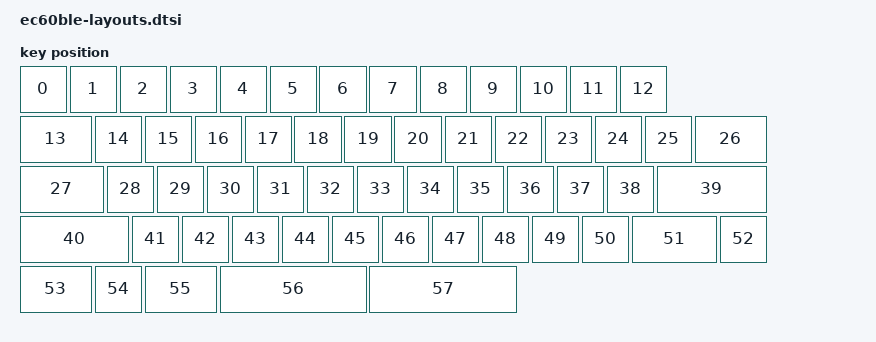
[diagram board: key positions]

#include <physical_layouts.dtsi>

/* write a layout with all the keys */
/* then define layouts with less keys and reference the full key layout */
/* If keyboard has multiple layouts, define multiple matrix transformations and multiple physical layouts, one for each layout */
/ {

    layout_0: layout_0 {
        compatible = "zmk,physical-layout";
        display-name = "Layout 0";

        keys  //                     w   h    x    y     rot    rx    ry
            = <&key_physical_attrs 100 100  250    0       0     0     0>
            , <&key_physical_attrs 100 100  350    0       0     0     0>
            , <&key_physical_attrs 100 100  450    0       0     0     0>
            , <&key_physical_attrs 100 100  550    0       0     0     0>
            , <&key_physical_attrs 100 100  650    0       0     0     0>
            , <&key_physical_attrs 100 100  750    0       0     0     0>
            , <&key_physical_attrs 100 100  850    0       0     0     0>
            , <&key_physical_attrs 100 100  950    0       0     0     0>
            , <&key_physical_attrs 100 100 1050    0       0     0     0>
            , <&key_physical_attrs 100 100 1150    0       0     0     0>
            , <&key_physical_attrs 100 100 1250    0       0     0     0>
            , <&key_physical_attrs 100 100 1350    0       0     0     0>
            , <&key_physical_attrs 100 100 1450    0       0     0     0>
            , <&key_physical_attrs 150 100  250  100       0     0     0>
            , <&key_physical_attrs 100 100  400  100       0     0     0>
            , <&key_physical_attrs 100 100  500  100       0     0     0>
            , <&key_physical_attrs 100 100  600  100       0     0     0>
            , <&key_physical_attrs 100 100  700  100       0     0     0>
            , <&key_physical_attrs 100 100  800  100       0     0     0>
            , <&key_physical_attrs 100 100  900  100       0     0     0>
            , <&key_physical_attrs 100 100 1000  100       0     0     0>
            , <&key_physical_attrs 100 100 1100  100       0     0     0>
            , <&key_physical_attrs 100 100 1200  100       0     0     0>
            , <&key_physical_attrs 100 100 1300  100       0     0     0>
            , <&key_physical_attrs 100 100 1400  100       0     0     0>
            , <&key_physical_attrs 100 100 1500  100       0     0     0>
            , <&key_physical_attrs 150 100 1600  100       0     0     0>
            , <&key_physical_attrs 175 100  250  200       0     0     0>
            , <&key_physical_attrs 100 100  425  200       0     0     0>
            , <&key_physical_attrs 100 100  525  200       0     0     0>
            , <&key_physical_attrs 100 100  625  200       0     0     0>
            , <&key_physical_attrs 100 100  725  200       0     0     0>
            , <&key_physical_attrs 100 100  825  200       0     0     0>
            , <&key_physical_attrs 100 100  925  200       0     0     0>
            , <&key_physical_attrs 100 100 1025  200       0     0     0>
            , <&key_physical_attrs 100 100 1125  200       0     0     0>
            , <&key_physical_attrs 100 100 1225  200       0     0     0>
            , <&key_physical_attrs 100 100 1325  200       0     0     0>
            , <&key_physical_attrs 100 100 1425  200       0     0     0>
            , <&key_physical_attrs 225 100 1525  200       0     0     0>
            , <&key_physical_attrs 225 100  250  300       0     0     0>
            , <&key_physical_attrs 100 100  475  300       0     0     0>
            , <&key_physical_attrs 100 100  575  300       0     0     0>
            , <&key_physical_attrs 100 100  675  300       0     0     0>
            , <&key_physical_attrs 100 100  775  300       0     0     0>
            , <&key_physical_attrs 100 100  875  300       0     0     0>
            , <&key_physical_attrs 100 100  975  300       0     0     0>
            , <&key_physical_attrs 100 100 1075  300       0     0     0>
            , <&key_physical_attrs 100 100 1175  300       0     0     0>
            , <&key_physical_attrs 100 100 1275  300       0     0     0>
            , <&key_physical_attrs 100 100 1375  300       0     0     0>
            , <&key_physical_attrs 175 100 1475  300       0     0     0>
            , <&key_physical_attrs 100 100 1650  300       0     0     0>
            , <&key_physical_attrs 150 100  250  400       0     0     0>
            , <&key_physical_attrs 100 100  400  400       0     0     0>
            , <&key_physical_attrs 150 100  500  400       0     0     0>
            , <&key_physical_attrs 300 100  650  400       0     0     0>
            , <&key_physical_attrs 300 100  950  400       0     0     0>
            ;
    };
};

&layout_0 {
    transform = <&default_transform>;
};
